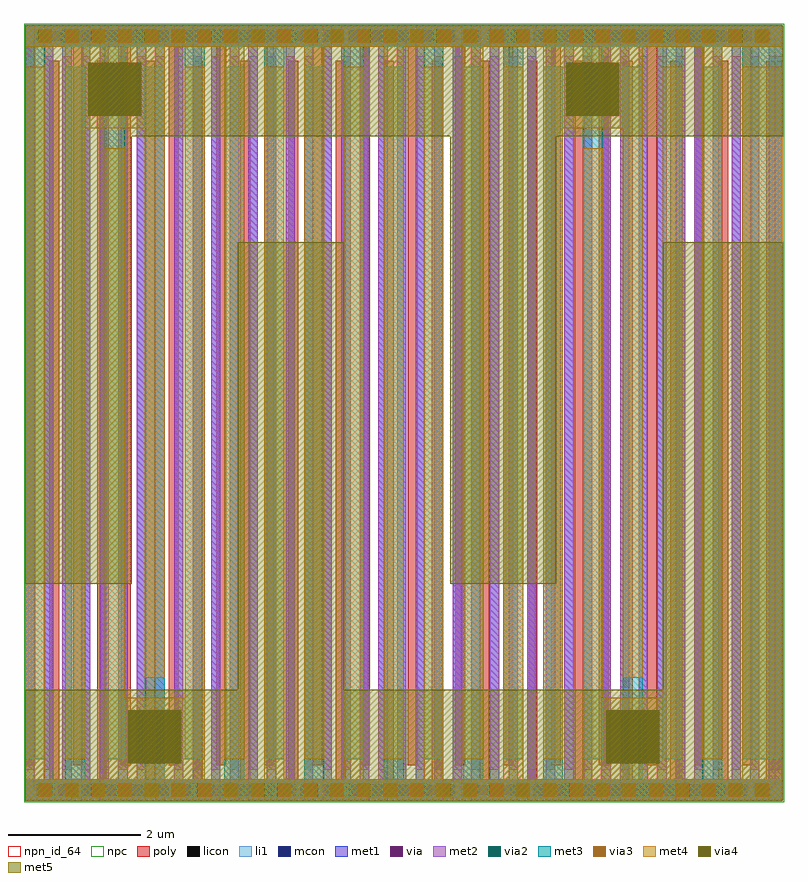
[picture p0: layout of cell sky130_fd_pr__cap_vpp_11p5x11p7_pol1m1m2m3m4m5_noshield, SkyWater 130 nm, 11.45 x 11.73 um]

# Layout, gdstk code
import gdstk
lib = gdstk.Library(unit=1e-6, precision=1e-09)
def R(c, l, rs):  # rectangles x0, y0, x1, y1
    for r in rs: c.add(gdstk.rectangle(r[:2], r[2:], *l))
def A(c, l, x, y, w, h, nx, ny, dx, dy):  # array of equal rectangles
    R(c, l, [(x+i*dx, y+j*dy, x+i*dx+w, y+j*dy+h) for i in range(nx) for j in range(ny)])
poly = (66, 20)
licon = (66, 44)
li1 = (67, 20)
mcon = (67, 44)
met1 = (68, 20)
via = (68, 44)
met2 = (69, 20)
via2 = (69, 44)
met3 = (70, 20)
via3 = (70, 44)
met4 = (71, 20)
via4 = (71, 44)
met5 = (72, 20)
npn_id_64 = (82, 64)
npc = (95, 20)

sky130_fd_pr__cap_vpp_11 = lib.new_cell('sky130_fd_pr__cap_vpp_11p5x11p7_pol1m1m2m3m4m5_noshield')
A(sky130_fd_pr__cap_vpp_11, poly, 0.36, 0.33, 0.15, 10.82, 15, 1, 0.72, 0)
A(sky130_fd_pr__cap_vpp_11, poly, 0, 0.54, 0.15, 10.82, 16, 1, 0.72, 0)
R(sky130_fd_pr__cap_vpp_11, poly, [(0,0,11.41,0.33), (11.16,0.33,11.41,11.15), (0,11.36,11.41,11.69)])
A(sky130_fd_pr__cap_vpp_11, licon, 0.17, 0.08, 0.17, 0.17, 33, 2, 0.34, 11.36)
A(sky130_fd_pr__cap_vpp_11, li1, 0, 0.33, 0.14, 10.89, 20, 1, 0.56, 0)
A(sky130_fd_pr__cap_vpp_11, li1, 0.28, 0.47, 0.14, 10.89, 20, 1, 0.56, 0)
R(sky130_fd_pr__cap_vpp_11, li1, [(0,0,11.41,0.33), (11.2,0.33,11.41,11.22), (0,11.36,11.41,11.69)])
A(sky130_fd_pr__cap_vpp_11, mcon, 0.19, 0.08, 0.17, 0.17, 31, 2, 0.36, 11.36)
A(sky130_fd_pr__cap_vpp_11, met1, 0.28, 0.33, 0.14, 10.89, 20, 1, 0.56, 0)
A(sky130_fd_pr__cap_vpp_11, met1, 0, 0.47, 0.14, 10.89, 20, 1, 0.56, 0)
R(sky130_fd_pr__cap_vpp_11, met1, [(0,0,11.41,0.33), (11.2,0.47,11.41,11.36), (0,11.36,11.41,11.69)])
R(sky130_fd_pr__cap_vpp_11, via, [(0.175,0.09,0.325,0.24), (0.495,0.09,0.645,0.24), (1.235,0.09,1.385,0.24), (1.555,0.09,1.705,0.24), (2.355,0.09,2.505,0.24), (2.675,0.09,2.825,0.24), (3.475,0.09,3.625,0.24), (3.795,0.09,3.945,0.24), (4.595,0.09,4.745,0.24), (4.915,0.09,5.065,0.24), (5.715,0.09,5.865,0.24), (6.035,0.09,6.185,0.24), (6.835,0.09,6.985,0.24), (7.155,0.09,7.305,0.24), (7.955,0.09,8.105,0.24), (8.275,0.09,8.425,0.24), (9.075,0.09,9.225,0.24), (9.395,0.09,9.545,0.24), (10.195,0.09,10.345,0.24), (10.515,0.09,10.665,0.24), (0.395,11.45,0.545,11.6), (0.715,11.45,0.865,11.6), (1.515,11.45,1.665,11.6), (1.835,11.45,1.985,11.6), (2.635,11.45,2.785,11.6), (2.955,11.45,3.105,11.6), (3.755,11.45,3.905,11.6), (4.075,11.45,4.225,11.6), (4.875,11.45,5.025,11.6), (5.195,11.45,5.345,11.6), (5.995,11.45,6.145,11.6), (6.315,11.45,6.465,11.6), (7.115,11.45,7.265,11.6), (7.435,11.45,7.585,11.6), (8.235,11.45,8.385,11.6), (8.555,11.45,8.705,11.6), (9.355,11.45,9.505,11.6), (9.675,11.45,9.825,11.6), (10.475,11.45,10.625,11.6), (10.795,11.45,10.945,11.6)])
A(sky130_fd_pr__cap_vpp_11, met2, 0, 0, 0.7, 0.33, 9, 1, 1.12, 0)
A(sky130_fd_pr__cap_vpp_11, met2, 0.84, 0, 0.14, 0.47, 9, 1, 1.12, 0)
A(sky130_fd_pr__cap_vpp_11, met2, 0, 0.33, 0.14, 10.89, 20, 1, 0.56, 0)
A(sky130_fd_pr__cap_vpp_11, met2, 0.28, 0.47, 0.14, 10.89, 20, 1, 0.56, 0)
A(sky130_fd_pr__cap_vpp_11, met2, 0, 11.22, 0.14, 0.47, 9, 1, 1.12, 0)
A(sky130_fd_pr__cap_vpp_11, met2, 0.28, 11.36, 0.7, 0.33, 9, 1, 1.12, 0)
R(sky130_fd_pr__cap_vpp_11, met2, [(10.08,0,11.41,0.33), (11.2,0.33,11.41,11.22), (9.94,11.36,11.41,11.69)])
A(sky130_fd_pr__cap_vpp_11, via2, 0.25, 0.065, 0.2, 0.2, 10, 1, 1.12, 0)
A(sky130_fd_pr__cap_vpp_11, via2, 0.53, 11.425, 0.2, 0.2, 10, 1, 1.12, 0)
A(sky130_fd_pr__cap_vpp_11, met3, 0.6, 0.33, 0.3, 10.73, 9, 1, 1.2, 0)
A(sky130_fd_pr__cap_vpp_11, met3, 0, 0.63, 0.3, 10.73, 9, 1, 1.2, 0)
R(sky130_fd_pr__cap_vpp_11, met3, [(0,0,11.41,0.33), (10.8,0.63,11.41,11.36), (0,11.36,11.41,11.69)])
A(sky130_fd_pr__cap_vpp_11, via3, 0.2, 0.065, 0.2, 0.2, 28, 2, 0.4, 11.36)
A(sky130_fd_pr__cap_vpp_11, met4, 2.4, 0.33, 0.3, 10.73, 5, 1, 1.2, 0)
A(sky130_fd_pr__cap_vpp_11, met4, 3, 0.63, 0.3, 10.73, 5, 1, 1.2, 0)
R(sky130_fd_pr__cap_vpp_11, met4, [(0,0,11.41,0.33), (0,0.33,0.3,11.06), (1.2,0.33,1.5,9.835), (1.5,0.33,2.4,0.375), (8.4,0.33,8.7,9.835), (8.7,0.33,9.6,0.375), (9.6,0.33,9.9,11.06), (10.8,0.33,11.41,11.06), (1.36,0.375,2.54,1.555), (8.56,0.375,9.74,1.555), (0.6,0.63,0.9,11.36), (10.2,0.63,10.5,11.36), (1.8,1.855,2.1,11.36), (9,1.855,9.3,11.36), (0.76,10.135,1.94,11.315), (7.96,10.135,9.14,11.315), (0.9,11.315,1.8,11.36), (8.1,11.315,9,11.36), (0,11.36,11.41,11.69)])
R(sky130_fd_pr__cap_vpp_11, via4, [(1.55,0.565,2.35,1.365), (8.75,0.565,9.55,1.365), (0.95,10.325,1.75,11.125), (8.15,10.325,8.95,11.125)])
R(sky130_fd_pr__cap_vpp_11, met5, [(0,0,11.41,1.675), (1.24,0.255,2.66,1.675), (8.44,0.255,9.86,1.675), (3.2,1.675,4.8,8.415), (9.6,1.675,11.41,8.415), (0,3.275,1.6,10.015), (6.4,3.275,8,10.015), (0,10.015,11.41,11.69), (0.64,10.015,2.06,11.435), (7.84,10.015,9.26,11.435)])
R(sky130_fd_pr__cap_vpp_11, npn_id_64, [(0.13,0.21,11.3,11.48)])
R(sky130_fd_pr__cap_vpp_11, npc, [(-0.02,-0.02,11.43,11.71)])

lib.write_gds('sky130_fd_pr__cap_vpp_11p5x11p7_pol1m1m2m3m4m5_noshield.gds')
